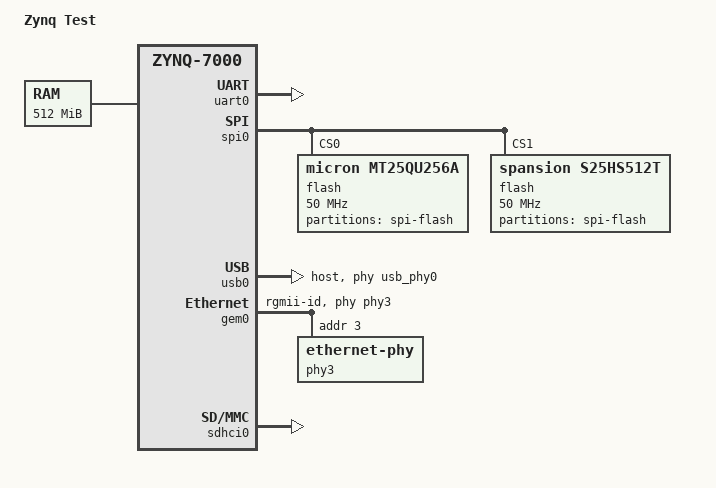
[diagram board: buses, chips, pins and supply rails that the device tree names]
// SPDX-License-Identifier: GPL-2.0+
/dts-v1/;
#include "zynq-7000.dtsi"

/ {
	model = "Zynq Test";
	compatible = "xlnx,zynq-7000";
	
	aliases {
		serial0 = &uart0;
	};

	memory {
		device_type = "memory";
		reg = <0x0 0x20000000>;
	};

	chosen {
		stdout-path = "serial0:115200n8";
	};

	usb_phy0: phy0 {
		compatible = "ulpi-phy";
		#phy-cells = <0>;
		reg = <0xe0002000 0x1000>;
		view-port = <0x0170>;
		drv-vbus;
	};

	virtio@e0104000 {
		compatible = "virtio,mmio";       	
		reg = <0xe0104000 0x150>;
		interrupt-parent = <&intc>;
		interrupts = <0 63 1>;
	};
};

&uart0 {
	u-boot,dm-pre-reloc;
	status = "okay";
};

&spi0 {
	status = "okay";
	flash@0 {
		compatible = "micron,mt25qu256a", "jedec,spi-nor";
		reg = <0x00>;
		spi-max-frequency = <50000000>;
		#address-cells = <1>;
		#size-cells = <1>;
		partition@spi-test0 {
			label = "spi-flash";
			reg = <0x0 0x10000>;
		};
	};
        flash@1 {
                compatible = "spansion,s25hs512t", "jedec,spi-nor";
                reg = <0x01>;
                spi-max-frequency = <50000000>;
                #address-cells = <1>;
                #size-cells = <1>;
                partition@spi-test1 {
                        label = "spi-flash";
                        reg = <0x0 0x4000000>;
                };
        };
};

&usb0 {
	status = "okay";
	dr_mode = "host";
	usb-phy = <&usb_phy0>;
};

&gem0 {
	status = "okay";
	phy-mode = "rgmii-id";
	phy-handle = <&phy3>;
	/delete-property/ local-mac-address;

	phy3: ethernet-phy@3 {
		reg = <3>;
		txc-skew-ps = <1800>;
		txen-skew-ps = <420>;

		txd0-skew-ps = <420>;
		txd1-skew-ps = <420>;
		txd2-skew-ps = <420>;
		txd3-skew-ps = <420>;

		rxc-skew-ps = <900>;
		rxdv-skew-ps = <420>;

		rxd0-skew-ps = <420>;
		rxd1-skew-ps = <420>;
		rxd2-skew-ps = <420>;
		rxd3-skew-ps = <420>;
	};
};

&sdhci0 {
	status = "okay";
	broken-cd = <0x1>;
	disable-wp;
};
